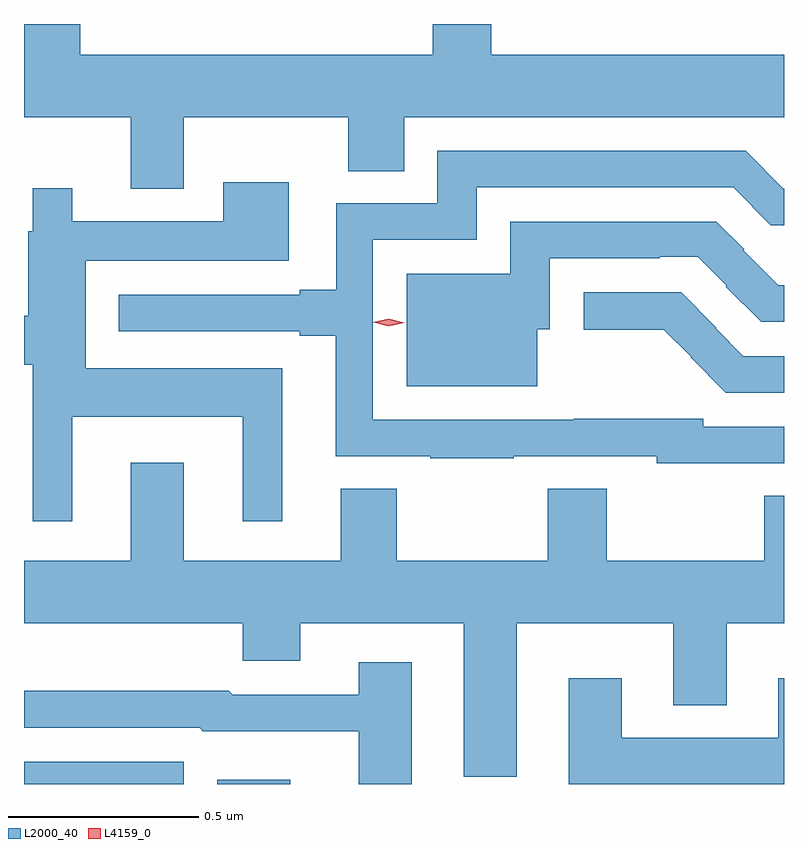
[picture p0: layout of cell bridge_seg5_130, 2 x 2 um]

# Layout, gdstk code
import gdstk
lib = gdstk.Library(unit=1e-6, precision=1e-09)
def R(c, l, rs):  # rectangles x0, y0, x1, y1
    for r in rs: c.add(gdstk.rectangle(r[:2], r[2:], *l))
def P(c, l, *ps):  # polygons
    for p in ps: c.add(gdstk.Polygon(p, *l))
L2000_40 = (2000, 40)
L4159_0 = (4159, 0)

bridge_seg5_130 = lib.new_cell('bridge_seg5_130')
R(bridge_seg5_130, L2000_40, [(422.322,855.005,422.743,855.064), (422.831,855.005,423.022,855.016)])
P(bridge_seg5_130, L2000_40, [(422.743,856.76),(423.175,856.76),(423.175,856.618),(423.322,856.618),(423.322,856.76),(424.322,856.76),(424.322,856.924),(423.551,856.924),(423.551,857.005),(423.398,857.005),(423.398,856.924),(422.47,856.924),(422.47,857.005),(422.322,857.005),(422.322,856.76),(422.603,856.76),(422.603,856.571),(422.743,856.571)],
  [(424.322,855.945),(424.11,855.945),(424.11,855.966),(423.769,855.966),(423.769,855.963),(423.24,855.963),(423.24,856.437),(423.514,856.437),(423.514,856.575),(424.188,856.575),(424.287,856.476),(424.322,856.476),(424.322,856.572),(424.32,856.572),(424.221,856.671),(423.41,856.671),(423.41,856.533),(423.144,856.533),(423.144,856.306),(423.047,856.306),(423.047,856.293),(422.571,856.293),(422.571,856.197),(423.047,856.197),(423.047,856.185),(423.143,856.185),(423.143,855.867),(423.391,855.867),(423.391,855.862),(423.611,855.862),(423.611,855.867),(423.987,855.867),(423.987,855.849),(424.322,855.849)],
  [(422.449,855.971),(422.897,855.971),(422.897,855.696),(423.001,855.696),(423.001,856.099),(422.485,856.099),(422.485,856.382),(423.019,856.382),(423.019,856.588),(422.846,856.588),(422.846,856.486),(422.449,856.486),(422.449,856.573),(422.345,856.573),(422.345,856.46),(422.333,856.46),(422.333,856.237),(422.322,856.237),(422.322,856.108),(422.345,856.108),(422.345,855.696),(422.449,855.696)],
  [(423.673,856.202),(423.706,856.202),(423.706,856.389),(423.995,856.389),(423.995,856.392),(424.095,856.392),(424.171,856.316),(424.169,856.314),(424.262,856.221),(424.322,856.221),(424.322,856.318),(424.307,856.318),(424.215,856.41),(424.217,856.412),(424.144,856.485),(423.602,856.485),(423.602,856.348),(423.329,856.348),(423.329,856.052),(423.673,856.052)],
  [(424.322,856.131),(424.215,856.131),(424.142,856.204),(424.144,856.206),(424.051,856.299),(423.795,856.299),(423.795,856.201),(424.006,856.201),(424.078,856.129),(424.076,856.128),(424.169,856.035),(424.322,856.035)],
  [(423.619,855.428),(424.031,855.428),(424.031,855.212),(424.171,855.212),(424.171,855.428),(424.322,855.428),(424.322,855.764),(424.27,855.764),(424.27,855.592),(423.855,855.592),(423.855,855.782),(423.7,855.782),(423.7,855.592),(423.303,855.592),(423.303,855.782),(423.155,855.782),(423.155,855.592),(422.743,855.592),(422.743,855.85),(422.603,855.85),(422.603,855.592),(422.322,855.592),(422.322,855.428),(422.897,855.428),(422.897,855.329),(423.049,855.329),(423.049,855.428),(423.479,855.428),(423.479,855.024),(423.619,855.024)],
  [(423.343,855.325),(423.203,855.325),(423.203,855.24),(422.871,855.24),(422.861,855.25),(422.322,855.25),(422.322,855.153),(422.784,855.153),(422.793,855.144),(423.203,855.144),(423.203,855.005),(423.343,855.005)],
  [(424.322,855.283),(424.307,855.283),(424.307,855.127),(423.895,855.127),(423.895,855.283),(423.755,855.283),(423.755,855.005),(424.322,855.005)])
P(bridge_seg5_130, L4159_0, [(423.282,856.21),(423.241,856.22),(423.24,856.22),(423.241,856.22),(423.282,856.23),(423.323,856.219),(423.323,856.219),(423.323,856.219)])

lib.write_gds('bridge_seg5_130.gds')
